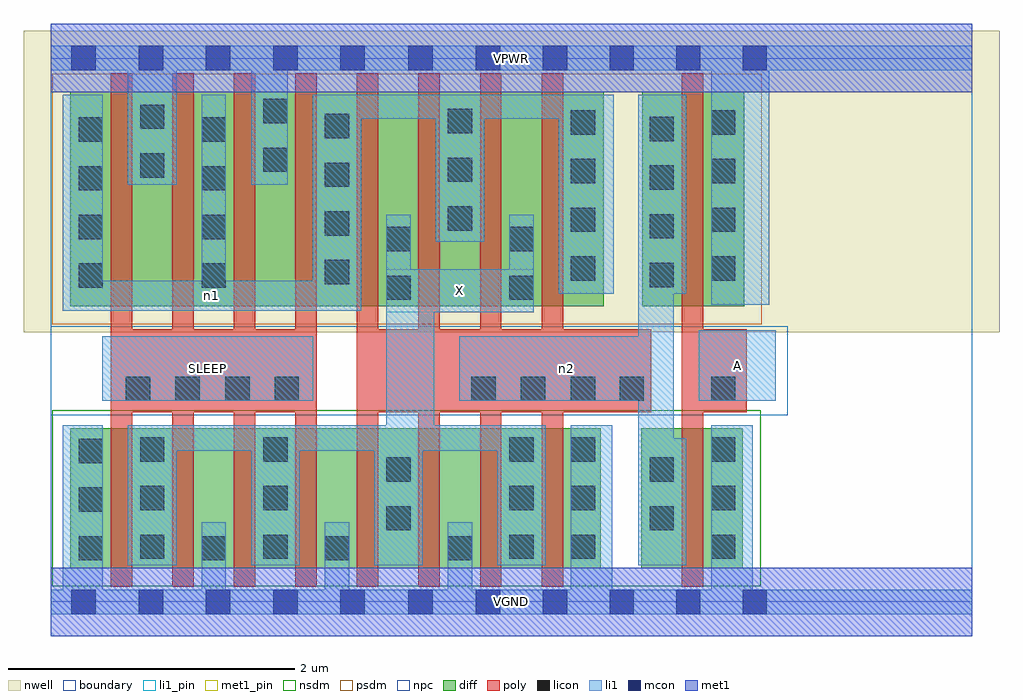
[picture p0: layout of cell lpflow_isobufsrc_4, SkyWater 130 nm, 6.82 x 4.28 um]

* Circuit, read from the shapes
.subckt lpflow_isobufsrc_4 A SLEEP VGND VPWR X n1 n2
XM1 X SLEEP VGND VSUBS sky130_fd_pr__nfet_01v8 w=0.98 l=0.15 m=4
XM2 X n2 VGND VSUBS sky130_fd_pr__nfet_01v8 w=0.98 l=0.15 m=4
XM3 VGND A n2 VSUBS sky130_fd_pr__nfet_01v8 w=0.98 l=0.15
XM4 VPWR SLEEP n1 n3 sky130_fd_pr__pfet_01v8 w=1.5 l=0.15 m=4
XM5 X n2 n1 n3 sky130_fd_pr__pfet_01v8 w=1.5 l=0.15 m=4
XM6 VPWR A n2 n3 sky130_fd_pr__pfet_01v8 w=1.5 l=0.15
.ends

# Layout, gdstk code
import gdstk
lib = gdstk.Library(unit=1e-6, precision=1e-09)
def R(c, l, rs):  # rectangles x0, y0, x1, y1
    for r in rs: c.add(gdstk.rectangle(r[:2], r[2:], *l))
def A(c, l, x, y, w, h, nx, ny, dx, dy):  # array of equal rectangles
    R(c, l, [(x+i*dx, y+j*dy, x+i*dx+w, y+j*dy+h) for i in range(nx) for j in range(ny)])
nwell = (64, 20)
diff = (65, 20)
poly = (66, 20)
licon = (66, 44)
li1_pin = (67, 16)
li1 = (67, 20)
mcon = (67, 44)
met1_pin = (68, 16)
met1 = (68, 20)
nsdm = (93, 44)
psdm = (94, 20)
npc = (95, 20)
boundary = (235, 4)

lpflow_isobufsrc_4 = lib.new_cell('lpflow_isobufsrc_4')
R(lpflow_isobufsrc_4, nwell, [(-0.19,1.885,6.63,3.99), (0,1.885,6.44,3.99)])
R(lpflow_isobufsrc_4, diff, [(0.135,0.235,3.845,1.215), (4.125,0.235,4.835,1.215), (0.135,2.065,3.865,3.565), (4.135,2.065,4.845,3.565)])
A(lpflow_isobufsrc_4, poly, 0.42, 0.105, 0.15, 3.59, 8, 1, 0.43, 0)
R(lpflow_isobufsrc_4, poly, [(4.41,0.105,4.56,3.695), (0.42,1.325,1.86,1.905), (2.14,1.325,4.195,1.905), (4.41,1.325,4.865,1.905)])
A(lpflow_isobufsrc_4, licon, 0.195, 0.29, 0.17, 0.17, 4, 1, 0.86, 0)
A(lpflow_isobufsrc_4, licon, 0.625, 0.3, 0.17, 0.17, 1, 3, 0, 0.34)
A(lpflow_isobufsrc_4, licon, 1.485, 0.3, 0.17, 0.17, 1, 3, 0, 0.34)
A(lpflow_isobufsrc_4, licon, 3.205, 0.3, 0.17, 0.17, 1, 3, 0, 0.34)
A(lpflow_isobufsrc_4, licon, 3.635, 0.3, 0.17, 0.17, 1, 3, 0, 0.34)
A(lpflow_isobufsrc_4, licon, 4.615, 0.3, 0.17, 0.17, 1, 3, 0, 0.34)
A(lpflow_isobufsrc_4, licon, 0.195, 2.195, 0.17, 0.17, 1, 4, 0, 0.34)
A(lpflow_isobufsrc_4, licon, 1.055, 2.195, 0.17, 0.17, 1, 4, 0, 0.34)
A(lpflow_isobufsrc_4, licon, 4.185, 2.2, 0.17, 0.17, 1, 4, 0, 0.34)
A(lpflow_isobufsrc_4, licon, 1.915, 2.22, 0.17, 0.17, 1, 4, 0, 0.34)
A(lpflow_isobufsrc_4, licon, 3.635, 2.245, 0.17, 0.17, 1, 4, 0, 0.34)
A(lpflow_isobufsrc_4, licon, 4.615, 2.245, 0.17, 0.17, 1, 4, 0, 0.34)
A(lpflow_isobufsrc_4, licon, 2.775, 2.595, 0.17, 0.17, 1, 3, 0, 0.34)
R(lpflow_isobufsrc_4, licon, [(2.345,0.5,2.515,0.67), (4.185,0.5,4.355,0.67), (0.195,0.63,0.365,0.8), (2.345,0.84,2.515,1.01), (4.185,0.84,4.355,1.01), (0.195,0.97,0.365,1.14), (0.525,1.405,0.695,1.575), (0.87,1.405,1.04,1.575), (1.22,1.405,1.39,1.575), (1.565,1.405,1.735,1.575), (2.94,1.405,3.11,1.575), (3.285,1.405,3.455,1.575), (3.635,1.405,3.805,1.575), (3.975,1.405,4.145,1.575), (4.615,1.405,4.785,1.575), (2.345,2.11,2.515,2.28), (3.205,2.11,3.375,2.28), (2.345,2.45,2.515,2.62), (3.205,2.45,3.375,2.62), (0.625,2.965,0.795,3.135), (1.485,3.005,1.655,3.175), (0.625,3.305,0.795,3.475), (1.485,3.345,1.655,3.515)])
R(lpflow_isobufsrc_4, li1_pin, [(0.36,1.405,1.835,1.855), (4.53,1.405,5.065,1.9), (2.345,2.025,3.375,2.325)])
A(lpflow_isobufsrc_4, li1, 1.055, -0.085, 0.17, 0.64, 3, 1, 0.86, 0)
A(lpflow_isobufsrc_4, li1, 0.54, 0.255, 0.34, 0.98, 4, 1, 0.86, 0)
R(lpflow_isobufsrc_4, li1, [(0,-0.085,6.44,0.085), (0.085,-0.085,0.365,1.235), (3.635,-0.085,3.925,1.235), (4.615,-0.085,4.905,1.235), (2.345,0.255,2.515,2.705), (4.105,0.255,4.355,3.545), (4.105,0.255,4.44,1.145), (0.54,1.055,3.46,1.235), (2.345,1.055,2.68,2.325), (0.36,1.405,1.835,1.855), (2.855,1.405,4.355,1.855), (4.53,1.405,5.065,1.9), (2.345,2.025,3.375,2.325), (3.205,2.025,3.375,2.705), (0.085,2.035,2.17,2.245), (0.085,2.035,0.365,3.545), (1.055,2.035,1.225,3.545), (1.83,2.035,2.17,3.545), (4.615,2.075,5.02,3.885), (3.55,2.155,3.935,3.545), (4.105,2.155,4.44,3.545), (2.69,2.515,3.03,3.545), (0.54,2.915,0.88,3.885), (1.4,2.915,1.655,3.885), (1.83,3.375,3.935,3.545), (0,3.715,6.44,3.885)])
A(lpflow_isobufsrc_4, mcon, 0.145, -0.085, 0.17, 0.17, 5, 2, 0.47, 3.8)
A(lpflow_isobufsrc_4, mcon, 2.5, -0.085, 0.17, 0.17, 3, 2, 0.47, 3.8)
A(lpflow_isobufsrc_4, mcon, 3.905, -0.085, 0.17, 0.17, 3, 2, 0.465, 3.8)
R(lpflow_isobufsrc_4, met1_pin, [(0,-0.24,6.44,0.24), (0,3.56,6.44,4.04)])
R(lpflow_isobufsrc_4, met1, [(0,-0.24,6.44,0.24), (0,3.56,6.44,4.04)])
R(lpflow_isobufsrc_4, nsdm, [(0.01,0.11,4.96,1.34)])
R(lpflow_isobufsrc_4, psdm, [(0.01,1.94,4.97,3.69)])
R(lpflow_isobufsrc_4, npc, [(0,1.305,5.15,1.925)])
R(lpflow_isobufsrc_4, boundary, [(0,0,6.44,3.8)])
lpflow_isobufsrc_4.add(gdstk.Label('A', (4.797,1.652), layer=67, texttype=5))
lpflow_isobufsrc_4.add(gdstk.Label('SLEEP', (1.097,1.63), layer=67, texttype=5))
lpflow_isobufsrc_4.add(gdstk.Label('X', (2.86,2.175), layer=67, texttype=5))
lpflow_isobufsrc_4.add(gdstk.Label('n1', (1.127,2.14), layer=67, texttype=5))
lpflow_isobufsrc_4.add(gdstk.Label('n2', (3.605,1.63), layer=67, texttype=5))
lpflow_isobufsrc_4.add(gdstk.Label('VPWR', (3.22,3.8), layer=68, texttype=5))
lpflow_isobufsrc_4.add(gdstk.Label('VGND', (3.22,0), layer=68, texttype=5))
lpflow_isobufsrc_4.add(gdstk.Label('A', (4.797,1.652), layer=67, texttype=16))
lpflow_isobufsrc_4.add(gdstk.Label('SLEEP', (1.097,1.63), layer=67, texttype=16))
lpflow_isobufsrc_4.add(gdstk.Label('X', (2.86,2.175), layer=67, texttype=16))
lpflow_isobufsrc_4.add(gdstk.Label('VPWR', (3.22,3.8), layer=68, texttype=16))
lpflow_isobufsrc_4.add(gdstk.Label('VGND', (3.22,0), layer=68, texttype=16))

lib.write_gds('lpflow_isobufsrc_4.gds')
